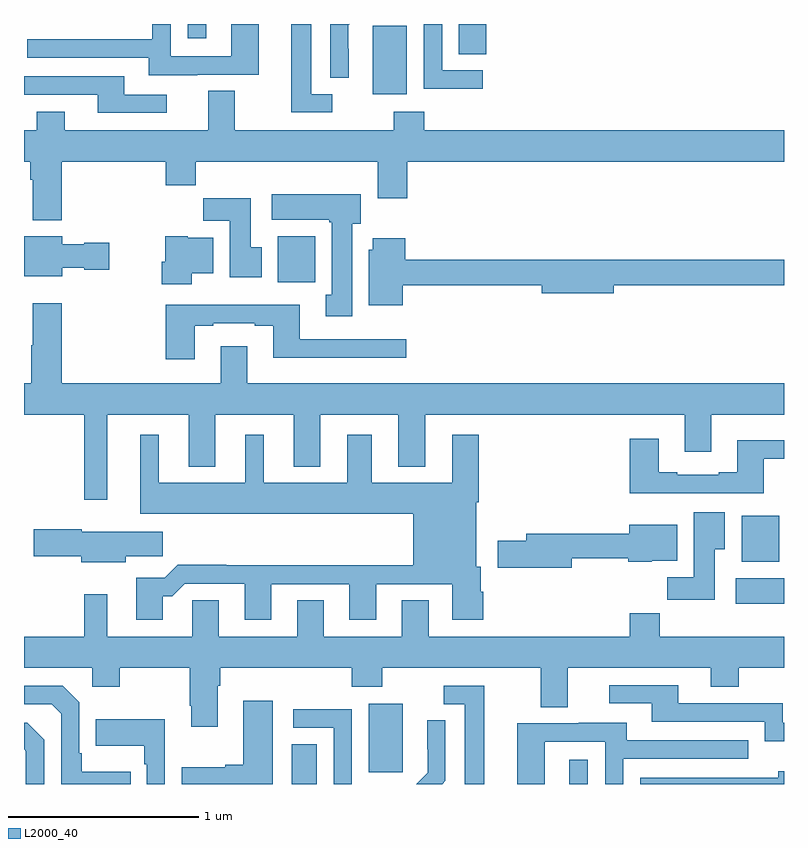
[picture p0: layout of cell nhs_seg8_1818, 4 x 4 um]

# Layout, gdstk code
import gdstk
lib = gdstk.Library(unit=1e-6, precision=1e-09)
def R(c, l, rs):  # rectangles x0, y0, x1, y1
    for r in rs: c.add(gdstk.rectangle(r[:2], r[2:], *l))
def P(c, l, *ps):  # polygons
    for p in ps: c.add(gdstk.Polygon(p, *l))
L2000_40 = (2000, 40)

nhs_seg8_1818 = lib.new_cell('nhs_seg8_1818')
R(nhs_seg8_1818, L2000_40, [(228.41,1103.9,228.541,1104.11), (229.871,1103.9,229.968,1104.028), (228.815,1103.961,228.994,1104.322), (230.745,1104.848,231,1104.982), (230.777,1105.07,230.974,1105.312), (228.335,1106.54,228.532,1106.782), (228.836,1107.53,229.015,1107.891), (229.289,1107.742,229.433,1107.9), (227.862,1107.825,227.959,1107.9)])
P(nhs_seg8_1818, L2000_40, [(228.622,1107.531),(228.511,1107.531),(228.511,1107.9),(228.407,1107.9),(228.407,1107.435),(228.622,1107.435)],
  [(229.414,1107.657),(229.2,1107.657),(229.2,1107.9),(229.104,1107.9),(229.104,1107.559),(229.414,1107.559)],
  [(228.708,1107.77),(228.707,1107.77),(228.707,1107.893),(228.714,1107.9),(228.612,1107.9),(228.612,1107.616),(228.708,1107.616)],
  [(227.911,1107.633),(228.235,1107.633),(228.235,1107.9),(228.09,1107.9),(228.09,1107.729),(227.772,1107.729),(227.772,1107.9),(227.676,1107.9),(227.676,1107.819),(227.017,1107.819),(227.017,1107.723),(227.657,1107.723),(227.657,1107.629),(227.911,1107.629)],
  [(227.752,1107.528),(227.527,1107.528),(227.527,1107.624),(227,1107.624),(227,1107.528),(227.387,1107.528),(227.387,1107.432),(227.752,1107.432)],
  [(227.198,1107.176),(227.747,1107.176),(227.747,1107.052),(227.903,1107.052),(227.903,1107.176),(228.863,1107.176),(228.863,1106.982),(229.016,1106.982),(229.016,1107.176),(231,1107.176),(231,1107.34),(229.106,1107.34),(229.106,1107.439),(228.946,1107.439),(228.946,1107.34),(228.109,1107.34),(228.109,1107.548),(227.969,1107.548),(227.969,1107.34),(227.215,1107.34),(227.215,1107.439),(227.068,1107.439),(227.068,1107.34),(227,1107.34),(227,1107.176),(227.033,1107.176),(227.033,1107.08),(227.045,1107.08),(227.045,1106.867),(227.198,1106.867)],
  [(228.727,1106.85),(228.772,1106.85),(228.772,1107.004),(228.303,1107.004),(228.303,1106.87),(228.607,1106.87),(228.607,1106.857),(228.62,1106.857),(228.62,1106.474),(228.587,1106.474),(228.587,1106.361),(228.727,1106.361)],
  [(228.25,1106.724),(228.193,1106.724),(228.193,1106.983),(227.944,1106.983),(227.944,1106.864),(228.083,1106.864),(228.083,1106.568),(228.25,1106.568)],
  [(227.884,1106.588),(227.995,1106.588),(227.995,1106.776),(227.862,1106.776),(227.862,1106.782),(227.744,1106.782),(227.744,1106.649),(227.726,1106.649),(227.726,1106.531),(227.884,1106.531)],
  [(227.2,1106.618),(227.316,1106.618),(227.316,1106.606),(227.449,1106.606),(227.449,1106.748),(227.316,1106.748),(227.316,1106.74),(227.2,1106.74),(227.2,1106.782),(227,1106.782),(227,1106.573),(227.2,1106.573)],
  [(228.994,1106.524),(229.724,1106.524),(229.724,1106.482),(230.104,1106.482),(230.104,1106.524),(231,1106.524),(231,1106.66),(229.007,1106.66),(229.007,1106.773),(228.836,1106.773),(228.836,1106.712),(228.815,1106.712),(228.815,1106.42),(228.994,1106.42)],
  [(227.437,1105.844),(227.867,1105.844),(227.867,1105.571),(228.007,1105.571),(228.007,1105.844),(228.419,1105.844),(228.419,1105.571),(228.559,1105.571),(228.559,1105.844),(228.971,1105.844),(228.971,1105.571),(229.111,1105.571),(229.111,1105.844),(230.477,1105.844),(230.477,1105.65),(230.617,1105.65),(230.617,1105.844),(231,1105.844),(231,1106.008),(228.175,1106.008),(228.175,1106.203),(228.035,1106.203),(228.035,1106.008),(227.198,1106.008),(227.198,1106.431),(227.045,1106.431),(227.045,1106.21),(227.038,1106.21),(227.038,1106.008),(227,1106.008),(227,1105.844),(227.316,1105.844),(227.316,1105.395),(227.437,1105.395)],
  [(227.899,1106.313),(227.995,1106.313),(227.995,1106.325),(228.215,1106.325),(228.215,1106.313),(228.311,1106.313),(228.311,1106.144),(229.012,1106.144),(229.012,1106.241),(228.451,1106.241),(228.451,1106.422),(227.747,1106.422),(227.747,1106.136),(227.899,1106.136)],
  [(227.731,1104.887),(227.78,1104.887),(227.847,1104.954),(228.161,1104.954),(228.161,1104.765),(228.301,1104.765),(228.301,1104.951),(228.713,1104.951),(228.713,1104.765),(228.853,1104.765),(228.853,1104.951),(229.253,1104.951),(229.253,1104.765),(229.418,1104.765),(229.418,1104.911),(229.405,1104.911),(229.405,1105.044),(229.381,1105.044),(229.381,1105.382),(229.394,1105.382),(229.394,1105.738),(229.253,1105.738),(229.253,1105.486),(228.829,1105.486),(228.829,1105.738),(228.701,1105.738),(228.701,1105.486),(228.262,1105.486),(228.262,1105.738),(228.164,1105.738),(228.164,1105.486),(227.71,1105.486),(227.71,1105.738),(227.612,1105.738),(227.612,1105.322),(229.049,1105.322),(229.049,1105.052),(228.065,1105.052),(228.065,1105.055),(227.81,1105.055),(227.74,1104.985),(227.591,1104.985),(227.591,1104.765),(227.731,1104.765)],
  [(230.429,1105.431),(230.893,1105.431),(230.893,1105.611),(231,1105.611),(231,1105.708),(230.753,1105.708),(230.753,1105.54),(230.657,1105.54),(230.657,1105.527),(230.437,1105.527),(230.437,1105.54),(230.341,1105.54),(230.341,1105.717),(230.189,1105.717),(230.189,1105.43),(230.429,1105.43)],
  [(230.635,1105.136),(230.689,1105.136),(230.689,1105.33),(230.525,1105.33),(230.525,1104.988),(230.386,1104.988),(230.386,1104.87),(230.635,1104.87)],
  [(229.882,1105.089),(230.179,1105.089),(230.179,1105.07),(230.304,1105.07),(230.304,1105.076),(230.437,1105.076),(230.437,1105.264),(230.186,1105.264),(230.186,1105.217),(229.643,1105.217),(229.643,1105.181),(229.494,1105.181),(229.494,1105.039),(229.882,1105.039)],
  [(227.536,1105.099),(227.731,1105.099),(227.731,1105.228),(227.304,1105.228),(227.304,1105.241),(227.052,1105.241),(227.052,1105.099),(227.3,1105.099),(227.3,1105.067),(227.536,1105.067)],
  [(228.019,1104.416),(228.032,1104.416),(228.032,1104.512),(228.725,1104.512),(228.725,1104.413),(228.885,1104.413),(228.885,1104.512),(229.721,1104.512),(229.721,1104.304),(229.861,1104.304),(229.861,1104.512),(230.615,1104.512),(230.615,1104.413),(230.763,1104.413),(230.763,1104.512),(231,1104.512),(231,1104.676),(230.345,1104.676),(230.345,1104.8),(230.189,1104.8),(230.189,1104.676),(229.129,1104.676),(229.129,1104.866),(228.989,1104.866),(228.989,1104.676),(228.577,1104.676),(228.577,1104.866),(228.437,1104.866),(228.437,1104.676),(228.025,1104.676),(228.025,1104.866),(227.886,1104.866),(227.886,1104.676),(227.437,1104.676),(227.437,1104.898),(227.316,1104.898),(227.316,1104.676),(227,1104.676),(227,1104.512),(227.358,1104.512),(227.358,1104.413),(227.505,1104.413),(227.505,1104.512),(227.872,1104.512),(227.872,1104.313),(227.879,1104.313),(227.879,1104.201),(228.019,1104.201)],
  [(231,1104.222),(230.994,1104.222),(230.994,1104.324),(230.443,1104.324),(230.443,1104.42),(230.079,1104.42),(230.079,1104.324),(230.303,1104.324),(230.303,1104.228),(230.898,1104.228),(230.898,1104.125),(231,1104.125)],
  [(227.561,1103.965),(227.305,1103.965),(227.305,1104.061),(227.292,1104.061),(227.292,1104.33),(227.205,1104.417),(227,1104.417),(227,1104.321),(227.145,1104.321),(227.196,1104.27),(227.196,1103.9),(227.561,1103.9)],
  [(229.423,1104.417),(229.209,1104.417),(229.209,1104.321),(229.319,1104.321),(229.319,1103.9),(229.423,1103.9)],
  [(228.31,1104.337),(228.155,1104.337),(228.155,1104.002),(228.059,1104.002),(228.059,1103.989),(227.829,1103.989),(227.829,1103.9),(228.31,1103.9)],
  [(228.726,1104.294),(228.417,1104.294),(228.417,1104.195),(228.63,1104.195),(228.63,1103.9),(228.726,1103.9)],
  [(227.742,1104.241),(227.377,1104.241),(227.377,1104.101),(227.634,1104.101),(227.634,1104.005),(227.646,1104.005),(227.646,1103.9),(227.742,1103.9)],
  [(229.218,1103.918),(229.218,1104.236),(229.122,1104.236),(229.122,1104.082),(229.124,1104.082),(229.124,1103.96),(229.064,1103.9),(229.2,1103.9)],
  [(229.74,1104.123),(230.058,1104.123),(230.058,1103.9),(230.154,1103.9),(230.154,1104.033),(230.813,1104.033),(230.813,1104.129),(230.173,1104.129),(230.173,1104.223),(229.919,1104.223),(229.919,1104.219),(229.595,1104.219),(229.595,1103.9),(229.74,1103.9)],
  [(227.106,1104.132),(227.016,1104.222),(227,1104.222),(227,1104.082),(227.01,1104.072),(227.01,1103.9),(227.106,1103.9)],
  [(231,1103.968),(230.969,1103.968),(230.969,1103.934),(230.244,1103.934),(230.244,1103.9),(231,1103.9)])

lib.write_gds('nhs_seg8_1818.gds')
